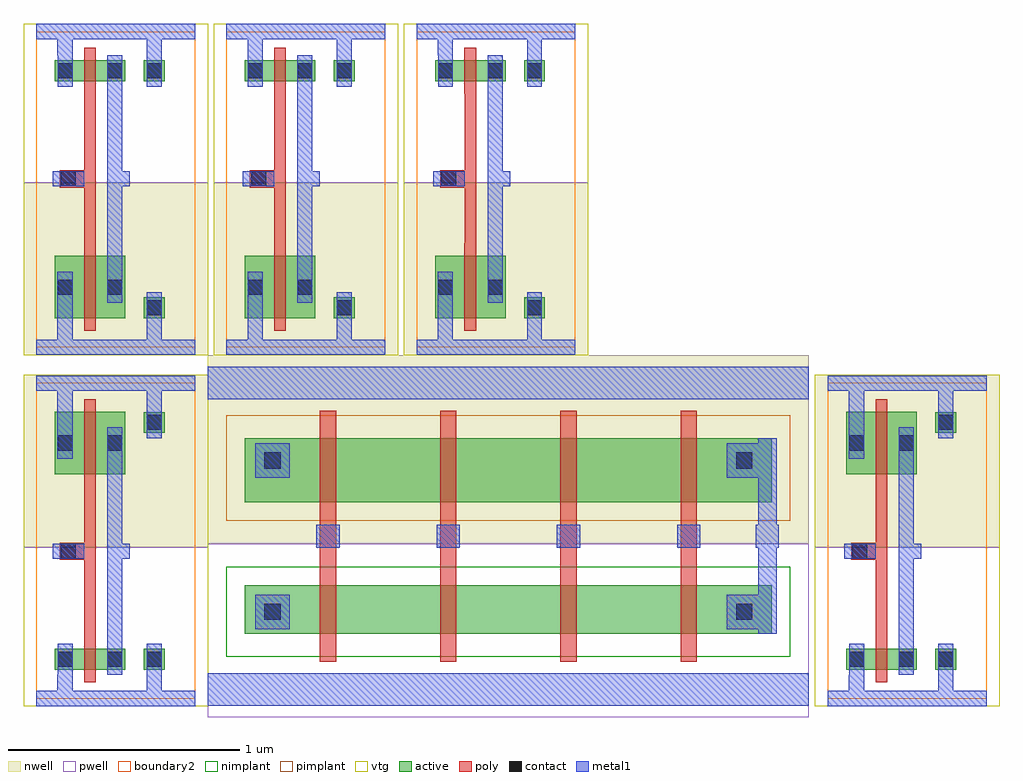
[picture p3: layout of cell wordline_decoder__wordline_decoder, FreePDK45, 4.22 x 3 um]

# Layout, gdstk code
import gdstk
lib = gdstk.Library(unit=1e-6, precision=1e-09)
def R(c, l, rs):  # rectangles x0, y0, x1, y1
    for r in rs: c.add(gdstk.rectangle(r[:2], r[2:], *l))
def A(c, l, x, y, w, h, nx, ny, dx, dy):  # array of equal rectangles
    R(c, l, [(x+i*dx, y+j*dy, x+i*dx+w, y+j*dy+h) for i in range(nx) for j in range(ny)])
active = (1, 0)
pwell = (2, 0)
nwell = (3, 0)
nimplant = (4, 0)
pimplant = (5, 0)
vtg = (6, 0)
poly = (9, 0)
contact = (10, 0)
metal1 = (11, 0)
boundary2 = (239, 0)

wordline_decoder__sram_1 = lib.new_cell('wordline_decoder__sram_1rw_32x16_freepdk45_contact_11')
R(wordline_decoder__sram_1, active, [(0,0.022,0.09,0.112)])
R(wordline_decoder__sram_1, nwell, [(-0.055,-0.033,0.145,0.168)])
R(wordline_decoder__sram_1, pimplant, [(0,0.022,0.09,0.112)])
R(wordline_decoder__sram_1, contact, [(0.013,0.035,0.077,0.1)])
R(wordline_decoder__sram_1, metal1, [(0.013,0,0.077,0.135)])
R(wordline_decoder__sram_1, boundary2, [(-0.055,-0.033,0.145,0.168)])

c_wordline_decoder__sram_1 = lib.new_cell('wordline_decoder__sram_1rw_32x16_freepdk45_pmos_m1_w0_270_sm1_dm1_da_p')
R(c_wordline_decoder__sram_1, active, [(0,0,0.305,0.27)])
R(c_wordline_decoder__sram_1, nwell, [(-0.08,-0.08,0.385,0.35)])
R(c_wordline_decoder__sram_1, pimplant, [(0,0,0.305,0.27)])
R(c_wordline_decoder__sram_1, vtg, [(-0.08,-0.08,0.385,0.35)])
R(c_wordline_decoder__sram_1, poly, [(0.127,-0.055,0.177,0.325), (0.127,-0.055,0.177,0.325)])
R(c_wordline_decoder__sram_1, metal1, [(0.013,0.068,0.077,0.203), (0.227,0.068,0.292,0.203)])
R(c_wordline_decoder__sram_1, boundary2, [(-0.08,-0.08,0.385,0.35)])
c_wordline_decoder__sram_1.add(gdstk.Reference(wordline_decoder__sram_1, (0,0.068)))
c_wordline_decoder__sram_1.add(gdstk.Reference(wordline_decoder__sram_1, (0.215,0.068)))
c_wordline_decoder__sram_1.add(gdstk.Label('G', (0.152,0.135), layer=9, texttype=0))
c_wordline_decoder__sram_1.add(gdstk.Label('S', (0.045,0.135), layer=11, texttype=0))
c_wordline_decoder__sram_1.add(gdstk.Label('D', (0.26,0.135), layer=11, texttype=0))

c_wordline_decoder__sram_1_ = lib.new_cell('wordline_decoder__sram_1rw_32x16_freepdk45_contact_10')
R(c_wordline_decoder__sram_1_, active, [(0,0.022,0.09,0.112)])
R(c_wordline_decoder__sram_1_, pwell, [(-0.055,-0.033,0.145,0.168)])
R(c_wordline_decoder__sram_1_, nimplant, [(0,0.022,0.09,0.112)])
R(c_wordline_decoder__sram_1_, contact, [(0.013,0.035,0.077,0.1)])
R(c_wordline_decoder__sram_1_, metal1, [(0.013,0,0.077,0.135)])
R(c_wordline_decoder__sram_1_, boundary2, [(-0.055,-0.033,0.145,0.168)])

c_wordline_decoder__sram_1__ = lib.new_cell('wordline_decoder__sram_1rw_32x16_freepdk45_nmos_m1_w0_090_sm1_dm1_da_p')
R(c_wordline_decoder__sram_1__, active, [(0,0,0.305,0.09)])
R(c_wordline_decoder__sram_1__, pwell, [(-0.08,-0.08,0.385,0.17)])
R(c_wordline_decoder__sram_1__, nimplant, [(0,0,0.305,0.09)])
R(c_wordline_decoder__sram_1__, vtg, [(-0.08,-0.08,0.385,0.17)])
R(c_wordline_decoder__sram_1__, poly, [(0.127,-0.055,0.177,0.145), (0.127,-0.055,0.177,0.145)])
R(c_wordline_decoder__sram_1__, metal1, [(0.013,-0.022,0.077,0.112), (0.227,-0.022,0.292,0.112)])
R(c_wordline_decoder__sram_1__, boundary2, [(-0.08,-0.08,0.385,0.17)])
c_wordline_decoder__sram_1__.add(gdstk.Reference(c_wordline_decoder__sram_1_, (0,-0.022)))
c_wordline_decoder__sram_1__.add(gdstk.Reference(c_wordline_decoder__sram_1_, (0.215,-0.022)))
c_wordline_decoder__sram_1__.add(gdstk.Label('G', (0.152,0.045), layer=9, texttype=0))
c_wordline_decoder__sram_1__.add(gdstk.Label('S', (0.045,0.045), layer=11, texttype=0))
c_wordline_decoder__sram_1__.add(gdstk.Label('D', (0.26,0.045), layer=11, texttype=0))

c_wordline_decoder__sram_1___ = lib.new_cell('wordline_decoder__sram_1rw_32x16_freepdk45_contact_12')
R(c_wordline_decoder__sram_1___, active, [(0,0.022,0.09,0.112)])
R(c_wordline_decoder__sram_1___, nwell, [(-0.055,-0.033,0.145,0.168)])
R(c_wordline_decoder__sram_1___, nimplant, [(0,0.022,0.09,0.112)])
R(c_wordline_decoder__sram_1___, contact, [(0.013,0.035,0.077,0.1)])
R(c_wordline_decoder__sram_1___, metal1, [(0.013,0,0.077,0.135)])
R(c_wordline_decoder__sram_1___, boundary2, [(-0.055,-0.033,0.145,0.168)])

c_wordline_decoder__sram_1____ = lib.new_cell('wordline_decoder__sram_1rw_32x16_freepdk45_contact_13')
R(c_wordline_decoder__sram_1____, active, [(0,0.022,0.09,0.112)])
R(c_wordline_decoder__sram_1____, pwell, [(-0.055,-0.033,0.145,0.168)])
R(c_wordline_decoder__sram_1____, pimplant, [(0,0.022,0.09,0.112)])
R(c_wordline_decoder__sram_1____, contact, [(0.013,0.035,0.077,0.1)])
R(c_wordline_decoder__sram_1____, metal1, [(0.013,0,0.077,0.135)])
R(c_wordline_decoder__sram_1____, boundary2, [(-0.055,-0.033,0.145,0.168)])

c_wordline_decoder__sram_1_____ = lib.new_cell('wordline_decoder__sram_1rw_32x16_freepdk45_contact_14')
R(c_wordline_decoder__sram_1_____, poly, [(0.03,0,0.105,0.075)])
R(c_wordline_decoder__sram_1_____, contact, [(0.035,0.005,0.1,0.07)])
R(c_wordline_decoder__sram_1_____, metal1, [(0,0.005,0.135,0.07)])
R(c_wordline_decoder__sram_1_____, boundary2, [(0,0,0.135,0.075)])

wordline_decoder__gen_in = lib.new_cell('wordline_decoder__gen_inv')
R(wordline_decoder__gen_in, pwell, [(-0.055,-0.033,0.743,0.655)])
R(wordline_decoder__gen_in, nwell, [(-0.055,0.655,0.743,1.4)])
R(wordline_decoder__gen_in, vtg, [(-0.055,-0.033,0.743,0.655), (-0.055,0.655,0.743,1.4)])
R(wordline_decoder__gen_in, poly, [(0.208,0.27,0.258,0.915), (0.14,0.6,0.208,0.675)])
R(wordline_decoder__gen_in, metal1, [(0,-0.033,0.687,0.033), (0.092,-0.033,0.157,0.103), (0.478,0,0.542,0.17), (0.307,0.103,0.372,1.173), (0.072,0.605,0.208,0.67), (0.34,0.605,0.405,0.67), (0.092,1.038,0.157,1.397), (0.478,1.195,0.542,1.365), (0,1.332,0.687,1.397)])
R(wordline_decoder__gen_in, boundary2, [(0,0,0.687,1.365), (0,0,0.687,1.365)])
wordline_decoder__gen_in.add(gdstk.Reference(c_wordline_decoder__sram_1, (0.08,0.97)))
wordline_decoder__gen_in.add(gdstk.Reference(c_wordline_decoder__sram_1__, (0.08,0.125)))
wordline_decoder__gen_in.add(gdstk.Reference(c_wordline_decoder__sram_1___, (0.465,1.127)))
wordline_decoder__gen_in.add(gdstk.Reference(c_wordline_decoder__sram_1____, (0.465,0.103)))
wordline_decoder__gen_in.add(gdstk.Reference(c_wordline_decoder__sram_1_____, (0.072,0.6)))
wordline_decoder__gen_in.add(gdstk.Label('A', (0.14,0.638), layer=11, texttype=0))
wordline_decoder__gen_in.add(gdstk.Label('Z', (0.372,0.638), layer=11, texttype=0))
wordline_decoder__gen_in.add(gdstk.Label('gnd', (0.345,0), layer=11, texttype=0))
wordline_decoder__gen_in.add(gdstk.Label('vdd', (0.345,1.365), layer=11, texttype=0))

wordline_decoder__gen_na = lib.new_cell('wordline_decoder__gen_nand4')
R(wordline_decoder__gen_na, active, [(0.16,0.36,2.44,0.57), (0.16,0.93,2.44,1.205)])
R(wordline_decoder__gen_na, pwell, [(0,0,2.6,0.75)])
R(wordline_decoder__gen_na, nwell, [(0,0.75,2.6,1.565)])
R(wordline_decoder__gen_na, nimplant, [(0.08,0.26,2.52,0.65)])
R(wordline_decoder__gen_na, pimplant, [(0.08,0.85,2.52,1.305)])
A(wordline_decoder__gen_na, poly, 0.485, 0.24, 0.07, 1.085, 4, 1, 0.52, 0)
R(wordline_decoder__gen_na, contact, [(0.245,0.42,0.315,0.49), (2.285,0.42,2.355,0.49), (0.245,1.075,0.315,1.145), (2.285,1.075,2.355,1.145)])
A(wordline_decoder__gen_na, metal1, 0.47, 0.733, 0.1, 0.099, 4, 1, 0.52, 0)
R(wordline_decoder__gen_na, metal1, [(0,0.05,2.6,0.19), (1.25,0.07,1.35,0.17), (2.38,0.36,2.46,1.205), (0.205,0.38,0.355,0.53), (2.245,0.38,2.395,0.53), (2.37,0.733,2.47,0.832), (0.205,1.035,0.355,1.185), (2.245,1.035,2.395,1.185), (0,1.375,2.6,1.515), (1.25,1.395,1.35,1.495)])

wordline_decoder__wordli = lib.new_cell('wordline_decoder__wordline_decoder')
wordline_decoder__wordli.add(gdstk.Reference(wordline_decoder__gen_in, (0.08,0.08)))
wordline_decoder__wordli.add(gdstk.Reference(wordline_decoder__gen_na, (0.822,0)))
wordline_decoder__wordli.add(gdstk.Reference(wordline_decoder__gen_in, (3.503,0.08)))
wordline_decoder__wordli.add(gdstk.Reference(wordline_decoder__gen_in, (0.08,2.965), x_reflection=True))
wordline_decoder__wordli.add(gdstk.Reference(wordline_decoder__gen_in, (0.902,2.965), x_reflection=True))
wordline_decoder__wordli.add(gdstk.Reference(wordline_decoder__gen_in, (1.725,2.965), x_reflection=True))

lib.write_gds('wordline_decoder__wordline_decoder.gds')
